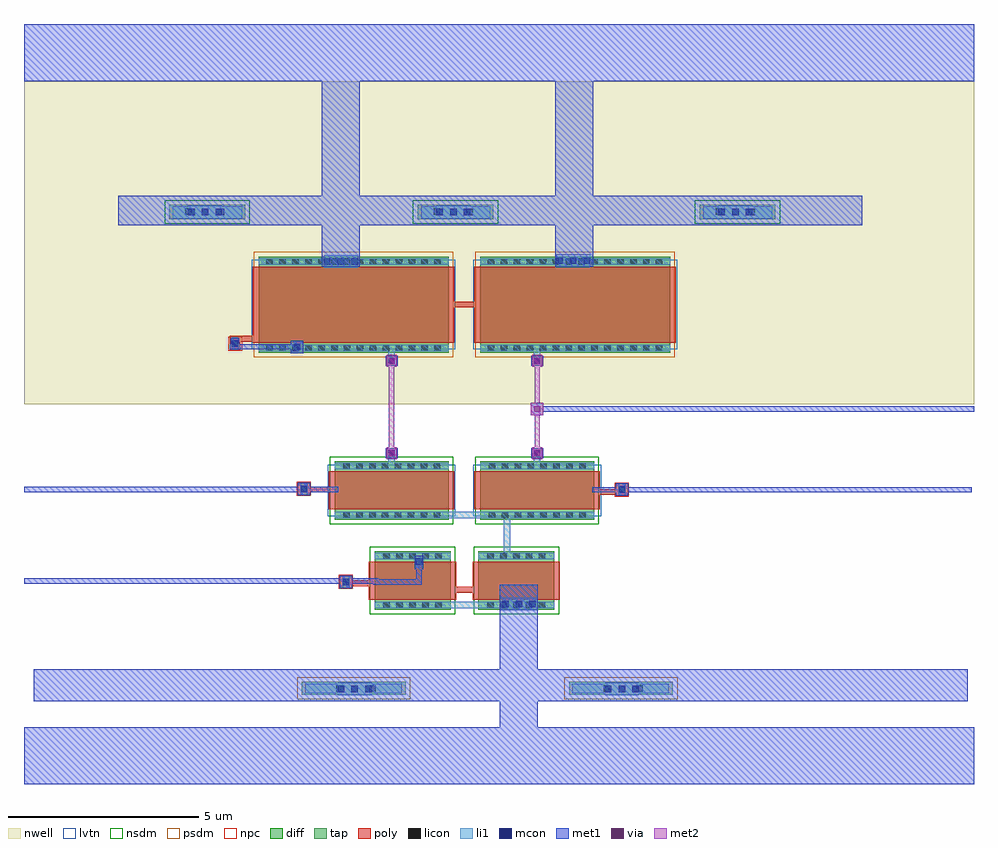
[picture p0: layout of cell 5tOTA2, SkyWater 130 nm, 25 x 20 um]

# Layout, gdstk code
from math import pi, radians
import gdstk
lib = gdstk.Library(unit=1e-6, precision=1e-09)
def R(c, l, rs):  # rectangles x0, y0, x1, y1
    for r in rs: c.add(gdstk.rectangle(r[:2], r[2:], *l))
def A(c, l, x, y, w, h, nx, ny, dx, dy):  # array of equal rectangles
    R(c, l, [(x+i*dx, y+j*dy, x+i*dx+w, y+j*dy+h) for i in range(nx) for j in range(ny)])
nwell = (64, 20)
diff = (65, 20)
tap = (65, 44)
poly = (66, 20)
licon = (66, 44)
li1 = (67, 20)
mcon = (67, 44)
met1 = (68, 20)
via = (68, 44)
met2 = (69, 20)
nsdm = (93, 44)
psdm = (94, 20)
npc = (95, 20)
lvtn = (125, 44)

l1m1_c_cdns_778445014631 = lib.new_cell('L1M1_C_CDNS_7784450146312')
R(l1m1_c_cdns_778445014631, li1, [(-0.445,-0.165,0.445,0.165)])
A(l1m1_c_cdns_778445014631, mcon, -0.445, -0.085, 0.17, 0.17, 3, 1, 0.36, 0)
R(l1m1_c_cdns_778445014631, met1, [(-0.475,-0.145,0.475,0.145)])

polyconn_cdns_7784450146 = lib.new_cell('polyConn_CDNS_778445014630')
R(polyconn_cdns_7784450146, poly, [(-0.165,-0.165,0.165,0.165)])
R(polyconn_cdns_7784450146, licon, [(-0.085,-0.085,0.085,0.085)])
R(polyconn_cdns_7784450146, li1, [(-0.085,-0.165,0.085,0.165)])
R(polyconn_cdns_7784450146, mcon, [(-0.085,-0.085,0.085,0.085)])
R(polyconn_cdns_7784450146, met1, [(-0.165,-0.165,0.165,0.165)])
R(polyconn_cdns_7784450146, npc, [(-0.185,-0.185,0.185,0.185)])

nfet_01v8_cdns_778445014 = lib.new_cell('nfet_01v8_CDNS_778445014634')
R(nfet_01v8_cdns_778445014, diff, [(-0.265,0,1.265,2)])
R(nfet_01v8_cdns_778445014, poly, [(0,-0.15,1,2.15)])
A(nfet_01v8_cdns_778445014, licon, -0.225, 0.235, 0.17, 0.17, 1, 5, 0, 0.34)
A(nfet_01v8_cdns_778445014, licon, 1.055, 0.235, 0.17, 0.17, 1, 5, 0, 0.34)
R(nfet_01v8_cdns_778445014, li1, [(-0.225,0,-0.055,2), (1.055,0,1.225,2)])
R(nfet_01v8_cdns_778445014, nsdm, [(-0.39,-0.125,1.39,2.125)])
nfet_01v8_cdns_778445014.add(gdstk.Label('D_drain_1', (1.13,1), layer=67, texttype=5))
nfet_01v8_cdns_778445014.add(gdstk.Label('S_source_0', (-0.13,1), layer=67, texttype=5))
nfet_01v8_cdns_778445014.add(gdstk.Label('D_drain_1', (1.14,1), layer=67, texttype=5))
nfet_01v8_cdns_778445014.add(gdstk.Label('S_source_0', (-0.14,1), layer=67, texttype=5))
nfet_01v8_cdns_778445014.add(gdstk.Label('G_gate_1', (0.5,-0.12), layer=66, texttype=5))
nfet_01v8_cdns_778445014.add(gdstk.Label('G_gate_1', (0.5,2.12), layer=66, texttype=5))

c_l1m1_c_cdns_778445014631 = lib.new_cell('L1M1_C_CDNS_7784450146311')
R(c_l1m1_c_cdns_778445014631, li1, [(-0.5,-0.165,0.5,0.165)])
A(c_l1m1_c_cdns_778445014631, mcon, -0.445, -0.085, 0.17, 0.17, 3, 1, 0.36, 0)
R(c_l1m1_c_cdns_778445014631, met1, [(-0.5,-0.165,0.5,0.165)])

nfet_01v8_lvt_cdns_77844 = lib.new_cell('nfet_01v8_lvt_CDNS_778445014633')
R(nfet_01v8_lvt_cdns_77844, diff, [(-0.265,0,1.265,3)])
R(nfet_01v8_lvt_cdns_77844, poly, [(0,-0.15,1,3.15)])
A(nfet_01v8_lvt_cdns_77844, licon, -0.225, 0.225, 0.17, 0.17, 1, 8, 0, 0.34)
A(nfet_01v8_lvt_cdns_77844, licon, 1.055, 0.225, 0.17, 0.17, 1, 8, 0, 0.34)
R(nfet_01v8_lvt_cdns_77844, li1, [(-0.225,0,-0.055,3), (1.055,0,1.225,3)])
R(nfet_01v8_lvt_cdns_77844, nsdm, [(-0.39,-0.125,1.39,3.125)])
R(nfet_01v8_lvt_cdns_77844, lvtn, [(-0.18,-0.18,1.18,3.18)])
nfet_01v8_lvt_cdns_77844.add(gdstk.Label('D_drain_1', (1.14,1.5), layer=67, texttype=5))
nfet_01v8_lvt_cdns_77844.add(gdstk.Label('S_source_0', (-0.14,1.5), layer=67, texttype=5))
nfet_01v8_lvt_cdns_77844.add(gdstk.Label('G_gate_1', (0.5,-0.12), layer=66, texttype=5))
nfet_01v8_lvt_cdns_77844.add(gdstk.Label('G_gate_1', (0.5,3.12), layer=66, texttype=5))
nfet_01v8_lvt_cdns_77844.add(gdstk.Label('D_drain_1', (1.13,1.5), layer=65, texttype=6))
nfet_01v8_lvt_cdns_77844.add(gdstk.Label('S_source_0', (-0.13,1.5), layer=65, texttype=6))

c_l1m1_c_cdns_778445014631_ = lib.new_cell('L1M1_C_CDNS_7784450146315')
R(c_l1m1_c_cdns_778445014631_, li1, [(-0.085,-0.165,0.085,0.165)])
R(c_l1m1_c_cdns_778445014631_, mcon, [(-0.085,-0.085,0.085,0.085)])
R(c_l1m1_c_cdns_778445014631_, met1, [(-0.115,-0.145,0.115,0.145)])

l1m1_c_cdns_778445014639 = lib.new_cell('L1M1_C_CDNS_778445014639')
R(l1m1_c_cdns_778445014639, li1, [(-0.085,-0.085,0.085,0.085)])
R(l1m1_c_cdns_778445014639, mcon, [(-0.085,-0.085,0.085,0.085)])
R(l1m1_c_cdns_778445014639, met1, [(-0.145,-0.115,0.145,0.115)])

m1m2_c_cdns_778445014631 = lib.new_cell('M1M2_C_CDNS_7784450146310')
R(m1m2_c_cdns_778445014631, met1, [(-0.16,-0.13,0.16,0.13)])
R(m1m2_c_cdns_778445014631, via, [(-0.075,-0.075,0.075,0.075)])
R(m1m2_c_cdns_778445014631, met2, [(-0.13,-0.16,0.13,0.16)])

c_m1m2_c_cdns_778445014631 = lib.new_cell('M1M2_C_CDNS_7784450146314')
R(c_m1m2_c_cdns_778445014631, met1, [(-0.165,-0.165,0.165,0.165)])
R(c_m1m2_c_cdns_778445014631, via, [(-0.075,-0.075,0.075,0.075)])
R(c_m1m2_c_cdns_778445014631, met2, [(-0.165,-0.165,0.165,0.165)])

c_l1m1_c_cdns_778445014631__ = lib.new_cell('L1M1_C_CDNS_7784450146313')
R(c_l1m1_c_cdns_778445014631__, li1, [(-0.165,-0.165,0.165,0.165)])
R(c_l1m1_c_cdns_778445014631__, mcon, [(-0.085,-0.085,0.085,0.085)])
R(c_l1m1_c_cdns_778445014631__, met1, [(-0.165,-0.165,0.165,0.165)])

c_polyconn_cdns_7784450146 = lib.new_cell('polyConn_CDNS_778445014631')
R(c_polyconn_cdns_7784450146, poly, [(-0.135,-0.165,0.135,0.165)])
R(c_polyconn_cdns_7784450146, licon, [(-0.085,-0.085,0.085,0.085)])
R(c_polyconn_cdns_7784450146, li1, [(-0.085,-0.165,0.085,0.165)])
R(c_polyconn_cdns_7784450146, mcon, [(-0.085,-0.085,0.085,0.085)])
R(c_polyconn_cdns_7784450146, met1, [(-0.115,-0.145,0.115,0.145)])
R(c_polyconn_cdns_7784450146, npc, [(-0.185,-0.185,0.185,0.185)])

pfet_01v8_lvt_cdns_77844 = lib.new_cell('pfet_01v8_lvt_CDNS_778445014632')
R(pfet_01v8_lvt_cdns_77844, nwell, [(-0.445,-0.18,2.445,5.18)])
R(pfet_01v8_lvt_cdns_77844, diff, [(-0.265,0,2.265,5)])
R(pfet_01v8_lvt_cdns_77844, poly, [(0,-0.15,2,5.15)])
A(pfet_01v8_lvt_cdns_77844, licon, -0.225, 0.205, 0.17, 0.17, 1, 14, 0, 0.34)
A(pfet_01v8_lvt_cdns_77844, licon, 2.055, 0.205, 0.17, 0.17, 1, 14, 0, 0.34)
R(pfet_01v8_lvt_cdns_77844, li1, [(-0.225,0,-0.055,5), (2.055,0,2.225,5)])
R(pfet_01v8_lvt_cdns_77844, psdm, [(-0.39,-0.125,2.39,5.125)])
R(pfet_01v8_lvt_cdns_77844, lvtn, [(-0.18,-0.18,2.18,5.18)])
pfet_01v8_lvt_cdns_77844.add(gdstk.Label('D_drain_1', (2.14,2.5), layer=67, texttype=5))
pfet_01v8_lvt_cdns_77844.add(gdstk.Label('S_source_0', (-0.14,2.5), layer=67, texttype=5))
pfet_01v8_lvt_cdns_77844.add(gdstk.Label('G_gate_1', (1,-0.12), layer=66, texttype=5))
pfet_01v8_lvt_cdns_77844.add(gdstk.Label('G_gate_1', (1,5.12), layer=66, texttype=5))
pfet_01v8_lvt_cdns_77844.add(gdstk.Label('D_drain_1', (2.13,2.5), layer=65, texttype=6))
pfet_01v8_lvt_cdns_77844.add(gdstk.Label('S_source_0', (-0.13,2.5), layer=65, texttype=6))
pfet_01v8_lvt_cdns_77844.add(gdstk.Label('B', (1,2.5), layer=64, texttype=5))

c_5tota2 = lib.new_cell('5tOTA2')
R(c_5tota2, nwell, [(-0.05,10.025,24.95,18.525)])
R(c_5tota2, tap, [(7.26,2.375,9.99,2.71), (14.295,2.375,17.025,2.71), (3.775,14.89,5.77,15.265), (10.31,14.89,12.305,15.265), (17.73,14.89,19.725,15.265)])
R(c_5tota2, poly, [(11.27,5.06,11.81,5.21), (8.345,5.235,9.125,5.385), (15,7.635,15.76,7.785), (7.24,7.7,8.075,7.85), (5.365,11.665,6.075,11.815), (11.22,12.565,11.86,12.715)])
R(c_5tota2, licon, [(8.165,2.45,8.335,2.62), (15.2,2.45,15.37,2.62), (9.03,2.455,9.2,2.625), (16.065,2.455,16.235,2.625), (5.05,14.995,5.22,15.165), (11.585,14.995,11.755,15.165), (19.005,14.995,19.175,15.165), (4.195,15.005,4.365,15.175), (10.73,15.005,10.9,15.175), (18.15,15.005,18.32,15.175)])
R(c_5tota2, li1, [(7.345,2.415,9.885,2.665), (14.38,2.415,16.92,2.665), (11.175,4.655,12.075,4.825), (12.58,5.935,12.75,7.025), (8.125,7.025,14.955,7.195), (9.54,8.305,9.71,8.815), (13.37,8.305,13.54,8.815), (9.54,11.075,9.71,11.585), (13.37,11.075,13.54,11.585), (3.87,14.905,5.69,15.235), (10.405,14.905,12.225,15.235), (17.825,14.905,19.645,15.235)])
R(c_5tota2, met1, [(-0.05,0.025,24.95,1.525), (12.475,1.525,13.475,2.2), (0.21,2.2,24.785,3.045), (12.475,3.045,13.475,5.27), (9.145,5.27,10.415,5.3), (-0.05,5.3,10.415,5.41), (-0.05,5.41,9.285,5.44), (10.275,5.41,10.415,5.67), (10.23,5.67,10.46,5.885), (14.9,7.7,24.89,7.84), (-0.05,7.705,8.215,7.845), (13.395,9.78,13.535,9.82), (13.395,9.82,24.95,9.96), (5.36,11.46,7.14,11.6), (7.79,13.635,8.79,14.725), (13.93,13.635,14.93,14.725), (2.425,14.725,22.005,15.51), (7.79,15.51,8.79,18.525), (13.93,15.51,14.93,18.525), (-0.05,18.525,24.95,20.025)])
R(c_5tota2, met2, [(9.555,8.57,9.695,11.32), (13.385,8.73,13.525,11.16)])
R(c_5tota2, nsdm, [(3.65,14.765,5.895,15.39), (10.185,14.765,12.43,15.39), (17.605,14.765,19.85,15.39)])
R(c_5tota2, psdm, [(7.135,2.25,10.115,2.835), (14.17,2.25,17.15,2.835)])
c_5tota2.add(gdstk.Reference(l1m1_c_cdns_778445014631, (8.65,2.53)))
c_5tota2.add(gdstk.Reference(polyconn_cdns_7784450146, (8.42,5.345)))
c_5tota2.add(gdstk.Reference(nfet_01v8_cdns_778445014, (11.175,4.88), rotation=pi/2))
c_5tota2.add(gdstk.Reference(c_l1m1_c_cdns_778445014631, (12.975,4.76)))
c_5tota2.add(gdstk.Reference(nfet_01v8_cdns_778445014, (13.905,4.88), rotation=pi/2))
c_5tota2.add(gdstk.Reference(l1m1_c_cdns_778445014631, (15.685,2.53)))
c_5tota2.add(gdstk.Reference(polyconn_cdns_7784450146, (7.315,7.79)))
c_5tota2.add(gdstk.Reference(nfet_01v8_lvt_cdns_77844, (11.125,7.25), rotation=pi/2))
c_5tota2.add(gdstk.Reference(c_l1m1_c_cdns_778445014631_, (10.345,5.885)))
c_5tota2.add(gdstk.Reference(nfet_01v8_lvt_cdns_77844, (14.955,7.25), rotation=pi/2))
c_5tota2.add(gdstk.Reference(polyconn_cdns_7784450146, (15.685,7.77)))
c_5tota2.add(gdstk.Reference(l1m1_c_cdns_778445014639, (9.625,11.16)))
c_5tota2.add(gdstk.Reference(l1m1_c_cdns_778445014639, (9.625,8.73)))
c_5tota2.add(gdstk.Reference(m1m2_c_cdns_778445014631, (9.625,11.16)))
c_5tota2.add(gdstk.Reference(m1m2_c_cdns_778445014631, (9.625,8.73)))
c_5tota2.add(gdstk.Reference(l1m1_c_cdns_778445014639, (13.455,11.16)))
c_5tota2.add(gdstk.Reference(l1m1_c_cdns_778445014639, (13.455,8.73)))
c_5tota2.add(gdstk.Reference(m1m2_c_cdns_778445014631, (13.455,11.16)))
c_5tota2.add(gdstk.Reference(m1m2_c_cdns_778445014631, (13.455,8.73)))
c_5tota2.add(gdstk.Reference(c_m1m2_c_cdns_778445014631, (13.455,9.895)))
c_5tota2.add(gdstk.Reference(l1m1_c_cdns_778445014631, (8.29,13.78)))
c_5tota2.add(gdstk.Reference(c_l1m1_c_cdns_778445014631__, (7.14,11.53)))
c_5tota2.add(gdstk.Reference(c_polyconn_cdns_7784450146, (5.505,11.615)))
c_5tota2.add(gdstk.Reference(pfet_01v8_lvt_cdns_77844, (11.125,13.64), rotation=3*pi/2, x_reflection=True))
c_5tota2.add(gdstk.Reference(l1m1_c_cdns_778445014631, (14.4,13.795)))
c_5tota2.add(gdstk.Reference(pfet_01v8_lvt_cdns_77844, (11.955,13.64), rotation=3*pi/2))
c_5tota2.add(gdstk.Reference(l1m1_c_cdns_778445014631, (4.715,15.075)))
c_5tota2.add(gdstk.Reference(l1m1_c_cdns_778445014631, (11.25,15.075)))
c_5tota2.add(gdstk.Reference(l1m1_c_cdns_778445014631, (18.67,15.075)))

lib.write_gds('5tOTA2.gds')
